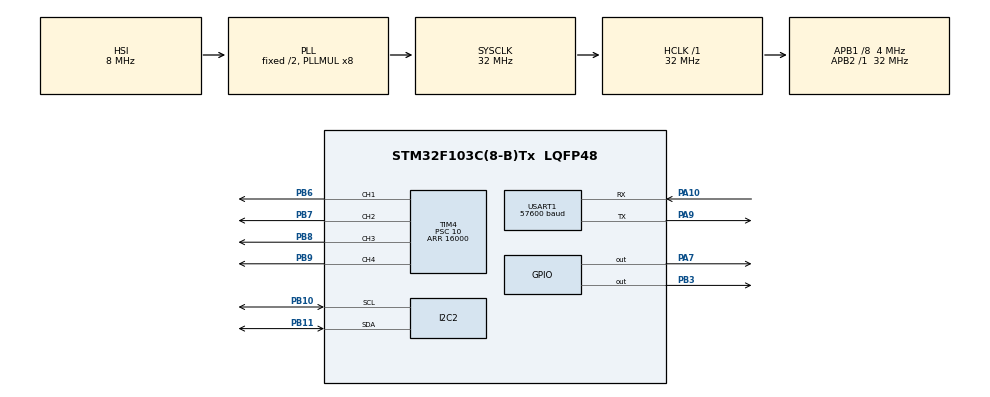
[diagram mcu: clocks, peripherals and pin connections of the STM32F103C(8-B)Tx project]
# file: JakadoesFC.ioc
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Mcu.Family=STM32F1
Mcu.Name=STM32F103C(8-B)Tx
Mcu.Package=LQFP48
NVIC.PriorityGroup=NVIC_PRIORITYGROUP_4
PA10.Mode=Asynchronous
PA10.Signal=USART1_RX
PA13.Mode=Serial_Wire
PA13.Signal=SYS_JTMS-SWDIO
PA14.Mode=Serial_Wire
PA14.Signal=SYS_JTCK-SWCLK
PA7.Signal=GPIO_Output
PA9.Mode=Asynchronous
PA9.Signal=USART1_TX
PB10.Mode=I2C
PB10.Signal=I2C2_SCL
PB11.Mode=I2C
PB11.Signal=I2C2_SDA
PB3.Signal=GPIO_Output
PB6.Signal=S_TIM4_CH1
PB7.Signal=S_TIM4_CH2
PB8.Signal=S_TIM4_CH3
PB9.Signal=S_TIM4_CH4
ProjectManager.HeapSize=0x200
ProjectManager.StackSize=0x400
ProjectManager.TargetToolchain=STM32CubeIDE
RCC.AHBFreq_Value=32000000
RCC.APB1CLKDivider=RCC_HCLK_DIV8
RCC.APB1Freq_Value=4000000
RCC.APB1TimFreq_Value=8000000
RCC.APB2Freq_Value=32000000
RCC.APB2TimFreq_Value=32000000
RCC.HCLKFreq_Value=32000000
RCC.PLLMUL=RCC_PLL_MUL8
RCC.SYSCLKFreq_VALUE=32000000
RCC.SYSCLKSource=RCC_SYSCLKSOURCE_PLLCLK
RCC.USBFreq_Value=32000000
SH.S_TIM4_CH1.0=TIM4_CH1,PWM Generation1 CH1
SH.S_TIM4_CH2.0=TIM4_CH2,PWM Generation2 CH2
SH.S_TIM4_CH3.0=TIM4_CH3,PWM Generation3 CH3
SH.S_TIM4_CH4.0=TIM4_CH4,PWM Generation4 CH4
TIM4.Channel-PWM\ Generation1\ CH1=TIM_CHANNEL_1
TIM4.Channel-PWM\ Generation2\ CH2=TIM_CHANNEL_2
TIM4.Channel-PWM\ Generation3\ CH3=TIM_CHANNEL_3
TIM4.Channel-PWM\ Generation4\ CH4=TIM_CHANNEL_4
TIM4.Period=16000
TIM4.Prescaler=10
TIM4.Pulse-PWM\ Generation1\ CH1=768
TIM4.Pulse-PWM\ Generation2\ CH2=768
TIM4.Pulse-PWM\ Generation3\ CH3=768
TIM4.Pulse-PWM\ Generation4\ CH4=768
USART1.BaudRate=57600
USART1.Parity=PARITY_NONE
USART1.VirtualMode=VM_ASYNC
USART1.WordLength=WORDLENGTH_8B
board=custom

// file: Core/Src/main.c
/* USER CODE BEGIN Header */
/**
  ******************************************************************************
  * @file           : main.c
  * @brief          : Main program body
  ******************************************************************************
  * @attention
  *
  * <h2><center>&copy; Copyright (c) 2020 STMicroelectronics.
  * All rights reserved.</center></h2>
  *
  * This software component is licensed by ST under BSD 3-Clause license,
  * the "License"; You may not use this file except in compliance with the
  * License. You may obtain a copy of the License at:
  *                        opensource.org/licenses/BSD-3-Clause
  *
  ******************************************************************************
  */
/* USER CODE END Header */
#include "main.h"

/* USER CODE BEGIN Includes */
#include "barometer.h"
#include "cam.h"
#include "mavlink.h"
#include "mpu.h"
/* USER CODE END Includes */

I2C_HandleTypeDef hi2c2;

TIM_HandleTypeDef htim4;

UART_HandleTypeDef huart1;

void SystemClock_Config(void);
static void MX_GPIO_Init(void);
static void MX_I2C2_Init(void);
static void MX_USART1_UART_Init(void);
static void MX_TIM4_Init(void);

/* USER CODE BEGIN 0 */
enum DroneMode{
	DISARMED,
	ARMED
};

int main(void)
{
	//initialize modules
	HAL_Init();
	MX_USART1_UART_Init();
	MX_TIM4_Init();
	MX_I2C2_Init();
	MX_GPIO_Init();
	//MX_RTC_Init();
	Mpu_Wake();
	HAL_Delay(20);
	Mpu_Calibrate();//sets initial acc values as calibration
	//initialize variables
	//uint8_t baro_test = 9;
	//uint8_t baro_ready_status;
	//uint8_t baro_prom_rx_buffer[2];
	//MAVlink stuff
	//mavlink_system_t mavlink_system = {
	//    1, // System ID2 (1-255)
	//    1  // Component ID (a MAV_COMPONENT value)
	//};

	//radio - incoming data will be packeted into four sections: [m1][m2][m3][m4]

	//uint8_t payload_test[10] = {1,2,3,4,5,6,7,8,9,10};
	//uint8_t payload_test[10];
	//for (uint8_t i=0; i<10;i++)
	//{
		//payload_test[i] = i+1;
	//}
	//uint8_t test[5] = {0x55, 0x55, 0x55, 0x55, 0x55};
	//uint8_t baro_flag = 5;
	//cam_photo_rx_buffer[10] = 0x44;
	//cam_photo_rx_buffer[11] = 0x55;
	//cam_photo_rx_buffer[12] = 0x66;
	//HAL_Delay(3000);//wait for ESC's to arm, old
	HAL_GPIO_WritePin(GPIOB,GPIO_PIN_3,GPIO_PIN_SET);
	//uint8_t timChannels[] = {TIM_CHANNEL_1,TIM_CHANNEL_2,TIM_CHANNEL_3,TIM_CHANNEL_4};
	uint8_t poop = 0;
	while(1){
		//HAL_UART_Transmit(&huart1,(uint8_t*) &rx_buffer, sizeof(rx_buffer),HAL_MAX_DELAY);
		//HAL_Delay(1);
		//Radio_Transmit_Raw((uint8_t*) &test, 5);
		//HAL_UART_Receive (&huart1,(uint8_t*) &rx_buffer, 4 ,100);
		//Radio_Recieve_Raw((uint8_t*) &rx_buffer, 4);
		//MAV_Send_Debug_Statement_Default();
		//Motor_Set_Speed_All(0,0,0,0);
		//MAV_Parse_Data();
		//**************start of control test code*************
		MAV_Parse_Data();
		Control_Tick();
		Motor_Set_Speed_Guided();
		HAL_Delay(5);
		if(poop >= 5)
		{
			MAV_Send_Raw_Imu();
			poop = 0;
		}
		HAL_Delay(5);
		//MAV_Send_RC_Channels_Raw();
		//uint32_t value = 0;
		//MAV_Send_Msg_Named_Value_Int("bar", value/11);
		//****start of MPU test code****
		//uint8_t mpu_status = Mpu_Is_Ready();
		//Radio_Transmit_Raw(&mpu_status, 1);
		/*
		if(Mpu_Is_Ready() == HAL_OK)
		{
			Mpu_Get_Acc_Data(MPU_AXIS_X);
			HAL_Delay(5);
			Mpu_Get_Acc_Data(MPU_AXIS_Y);
			HAL_Delay(5);
			Mpu_Get_Acc_Data(MPU_AXIS_Z);
			HAL_Delay(5);
			Mpu_Get_Gyro_Data(MPU_AXIS_X);
			HAL_Delay(5);
			Mpu_Get_Gyro_Data(MPU_AXIS_Y);
			HAL_Delay(5);
			//Mpu_Get_Gyro_Data(MPU_AXIS_Z);
			//uint8_t buff[2];
			//Helper_Int16arr_To_Int8arr(&mpu_acc, 1, &buff);
			//Radio_Transmit_Raw(&buff, 2);
			//HAL_Delay(200);
			MAV_Send_Raw_Imu();
		}
		HAL_Delay(50);
		*/
		//****start of FTP test code****
		//cam FTP test
		//cam_photo_rx_buffer[100] = 0x44;
		//cam_photo_rx_buffer[101] = 0x55;
		//cam_photo_rx_buffer[102] = 0x66;
		//Cam_Transmit_Photo(100, 3);
		//MAV FTP test
		//MAV_send_File_Transfer_Protocol(&payload_test, 10);
		//HAL_Delay(500);
		//Radio_Transmit_Raw(&payload_test, 10);
		//HAL_Delay(1000);
		//**************end of FTP test code*************

		//****start of cam test code****
		/*
		//--code part 1--

		Cam_Transmit_Photo(10, 3);
		//HAL_Delay(1000);
		//uint8_t test4 = 0xFD;
		//Radio_Transmit_Raw(&test4, 1);
		MAV_Send_Debug_Statement_Default();
		HAL_Delay(1000);
		*/
		//MAV_Send_Debug_Statement_Default();
		//--code part 2--
		/*
		//Cam_Set_I2C(1);
		HAL_Delay(200);
		Cam_Transmit_Alert();
		uint8_t cam_status = Cam_Is_Ready();
		Radio_Transmit_Raw(&cam_status, 1);
		HAL_Delay(50);
		if(Cam_Is_Ready() == HAL_OK)
		{
			//Cam_Poll_Alert();
			Cam_Poll_Image(10, 5);
		}
		//Radio_Transmit_Raw(&cam_alert_rx_buffer, 1);
		Cam_Transmit_Photo_Debug(10, 5);
		//Cam_Transmit_Alert();
		HAL_Delay(1000);
		//Cam_Set_I2C(0);
		HAL_Delay(1000);
		*/
		//-- code part 3 --
		/*
		Cam_Handle();
		HAL_Delay(100);
		*/
		//-- code part 4 --
		/*
		cam_photo_rx_buffer[100] = 0x44;
		cam_photo_rx_buffer[101] = 0x55;
		cam_photo_rx_buffer[102] = 0x66;
		Cam_Transmit_Photo(100, 3);
		HAL_Delay(1000);
		*/
		//**************end of cam test code*************

		//*******start of barometer code*******
/*
		uint8_t mode[4] = {0x44, 0x00, 0x44};
		if(baro_flag == 0)
		{
			mode[1] = 0x00;
			Baro_Is_Ready();
			//Radio_Transmit_Raw(&mode, 4);
			//Radio_Transmit_Raw(&baro_ready_status, 1);

			Baro_Request_Press(BARO_OSR_4096);
			baro_flag = 1;
			HAL_Delay(10);//currently, this is needed to get proper values back
		}
		else if (baro_flag == 1 && ( Baro_Is_Ready()== HAL_OK ))
		{
			mode[1] = 0x11;
			Baro_Get_Press();
			//Radio_Transmit_Raw(&baro_temp_rx_buffer, 3);
			//Radio_Transmit_Raw(&mode, 4);
			Baro_Request_Temp(BARO_OSR_4096);
			baro_flag = 2;
			HAL_Delay(10);
		}
		else if (baro_flag == 2 && ( Baro_Is_Ready()== HAL_OK ))
		{
			//char newline[2] = {'\n', '\n'};
			mode[1] = 0x22;
			Baro_Get_Temp();
			Baro_Calculate_Altitude();
			//Radio_Transmit_Raw(&mode, 4);
			//Radio_Transmit_Raw(&newline, 2);
			uint8_t pressArr[4];
			Helper_Int32_To_Int8arr(pressure, &pressArr);
			Radio_Transmit_Raw(&pressArr, 4);
			HAL_Delay(100); //DO NOT Delay when real time flight controls are required
			baro_flag = 0;
		}
		else if(baro_flag == 5 && ( Baro_Is_Ready() == HAL_OK))
		{//startup - get coefficients and send them out
			mode[1] = 0x55;
			Baro_Get_Coefficients();
			//Radio_Transmit_Raw(&mode, 4);
			//Radio_Transmit_Raw(&rx_buffer, 4);
			//Radio_Transmit_Raw(&baro_coeffs, 2*6);
			baro_flag = 0;
			HAL_Delay(1000);
		}
*/
//*******end of barometer code*******

	}//end while

}//end main
/* USER CODE END 0 */

void SystemClock_Config(void)
{
  RCC_OscInitTypeDef RCC_OscInitStruct = {0};
  RCC_ClkInitTypeDef RCC_ClkInitStruct = {0};

  /** Initializes the RCC Oscillators according to the specified parameters
  * in the RCC_OscInitTypeDef structure.
  */
  RCC_OscInitStruct.OscillatorType = RCC_OSCILLATORTYPE_HSI;
  RCC_OscInitStruct.HSIState = RCC_HSI_ON;
  RCC_OscInitStruct.HSICalibrationValue = RCC_HSICALIBRATION_DEFAULT;
  RCC_OscInitStruct.PLL.PLLState = RCC_PLL_ON;
  RCC_OscInitStruct.PLL.PLLSource = RCC_PLLSOURCE_HSI_DIV2;
  RCC_OscInitStruct.PLL.PLLMUL = RCC_PLL_MUL8;
  if (HAL_RCC_OscConfig(&RCC_OscInitStruct) != HAL_OK)
  {
    Error_Handler();
  }
  /** Initializes the CPU, AHB and APB buses clocks
  */
  RCC_ClkInitStruct.ClockType = RCC_CLOCKTYPE_HCLK|RCC_CLOCKTYPE_SYSCLK
                              |RCC_CLOCKTYPE_PCLK1|RCC_CLOCKTYPE_PCLK2;
  RCC_ClkInitStruct.SYSCLKSource = RCC_SYSCLKSOURCE_PLLCLK;
  RCC_ClkInitStruct.AHBCLKDivider = RCC_SYSCLK_DIV1;
  RCC_ClkInitStruct.APB1CLKDivider = RCC_HCLK_DIV8;
  RCC_ClkInitStruct.APB2CLKDivider = RCC_HCLK_DIV1;

  if (HAL_RCC_ClockConfig(&RCC_ClkInitStruct, FLASH_LATENCY_1) != HAL_OK)
  {
    Error_Handler();
  }
}

static void MX_I2C2_Init(void)
{

  hi2c2.Instance = I2C2;
  hi2c2.Init.ClockSpeed = 100000;
  hi2c2.Init.DutyCycle = I2C_DUTYCYCLE_2;
  hi2c2.Init.OwnAddress1 = 0;
  hi2c2.Init.AddressingMode = I2C_ADDRESSINGMODE_7BIT;
  hi2c2.Init.DualAddressMode = I2C_DUALADDRESS_DISABLE;
  hi2c2.Init.OwnAddress2 = 0;
  hi2c2.Init.GeneralCallMode = I2C_GENERALCALL_DISABLE;
  hi2c2.Init.NoStretchMode = I2C_NOSTRETCH_DISABLE;
  if (HAL_I2C_Init(&hi2c2) != HAL_OK)
  {
    Error_Handler();
  }

}

static void MX_TIM4_Init(void)
{

  TIM_MasterConfigTypeDef sMasterConfig = {0};
  TIM_OC_InitTypeDef sConfigOC = {0};

  htim4.Instance = TIM4;
  htim4.Init.Prescaler = 10;
  htim4.Init.CounterMode = TIM_COUNTERMODE_UP;
  htim4.Init.Period = 16000;
  htim4.Init.ClockDivision = TIM_CLOCKDIVISION_DIV1;
  htim4.Init.AutoReloadPreload = TIM_AUTORELOAD_PRELOAD_DISABLE;
  if (HAL_TIM_PWM_Init(&htim4) != HAL_OK)
  {
    Error_Handler();
  }
  sMasterConfig.MasterOutputTrigger = TIM_TRGO_RESET;
  sMasterConfig.MasterSlaveMode = TIM_MASTERSLAVEMODE_DISABLE;
  if (HAL_TIMEx_MasterConfigSynchronization(&htim4, &sMasterConfig) != HAL_OK)
  {
    Error_Handler();
  }
  sConfigOC.OCMode = TIM_OCMODE_PWM1;
  sConfigOC.Pulse = 768;
  sConfigOC.OCPolarity = TIM_OCPOLARITY_HIGH;
  sConfigOC.OCFastMode = TIM_OCFAST_DISABLE;
  if (HAL_TIM_PWM_ConfigChannel(&htim4, &sConfigOC, TIM_CHANNEL_1) != HAL_OK)
  {
    Error_Handler();
  }
  if (HAL_TIM_PWM_ConfigChannel(&htim4, &sConfigOC, TIM_CHANNEL_2) != HAL_OK)
  {
    Error_Handler();
  }
  if (HAL_TIM_PWM_ConfigChannel(&htim4, &sConfigOC, TIM_CHANNEL_3) != HAL_OK)
  {
    Error_Handler();
  }
  if (HAL_TIM_PWM_ConfigChannel(&htim4, &sConfigOC, TIM_CHANNEL_4) != HAL_OK)
  {
    Error_Handler();
  }
  HAL_TIM_MspPostInit(&htim4);

}

static void MX_USART1_UART_Init(void)
{

  huart1.Instance = USART1;
  huart1.Init.BaudRate = 57600*2;
  huart1.Init.WordLength = UART_WORDLENGTH_8B;
  huart1.Init.StopBits = UART_STOPBITS_1;
  huart1.Init.Parity = UART_PARITY_NONE;
  huart1.Init.Mode = UART_MODE_TX_RX;
  huart1.Init.HwFlowCtl = UART_HWCONTROL_NONE;
  huart1.Init.OverSampling = UART_OVERSAMPLING_16;
  if (HAL_UART_Init(&huart1) != HAL_OK)
  {
    Error_Handler();
  }
  /* USER CODE BEGIN USART1_Init 2 */
  //huart1.Init.BaudRate = huart1.Init.BaudRate*2;//must double due to oversampling (dont do here, do above)
  /* USER CODE END USART1_Init 2 */

}

static void MX_GPIO_Init(void)
{
  GPIO_InitTypeDef GPIO_InitStruct = {0};

  /* GPIO Ports Clock Enable */
  __HAL_RCC_GPIOA_CLK_ENABLE();
  __HAL_RCC_GPIOB_CLK_ENABLE();

  /*Configure GPIO pin Output Level */
  HAL_GPIO_WritePin(GPIOA, GPIO_PIN_7, GPIO_PIN_RESET);

  /*Configure GPIO pin Output Level */
  HAL_GPIO_WritePin(GPIOB, GPIO_PIN_3, GPIO_PIN_RESET);

  /*Configure GPIO pin : PA7 */
  GPIO_InitStruct.Pin = GPIO_PIN_7;
  GPIO_InitStruct.Mode = GPIO_MODE_OUTPUT_PP;
  GPIO_InitStruct.Pull = GPIO_NOPULL;
  GPIO_InitStruct.Speed = GPIO_SPEED_FREQ_LOW;
  HAL_GPIO_Init(GPIOA, &GPIO_InitStruct);

  /*Configure GPIO pin : PB3 */
  GPIO_InitStruct.Pin = GPIO_PIN_3;
  GPIO_InitStruct.Mode = GPIO_MODE_OUTPUT_PP;
  GPIO_InitStruct.Pull = GPIO_NOPULL;
  GPIO_InitStruct.Speed = GPIO_SPEED_FREQ_LOW;
  HAL_GPIO_Init(GPIOB, &GPIO_InitStruct);

}

void Error_Handler(void)
{
}

/************************ (C) COPYRIGHT STMicroelectronics *****END OF FILE****/
